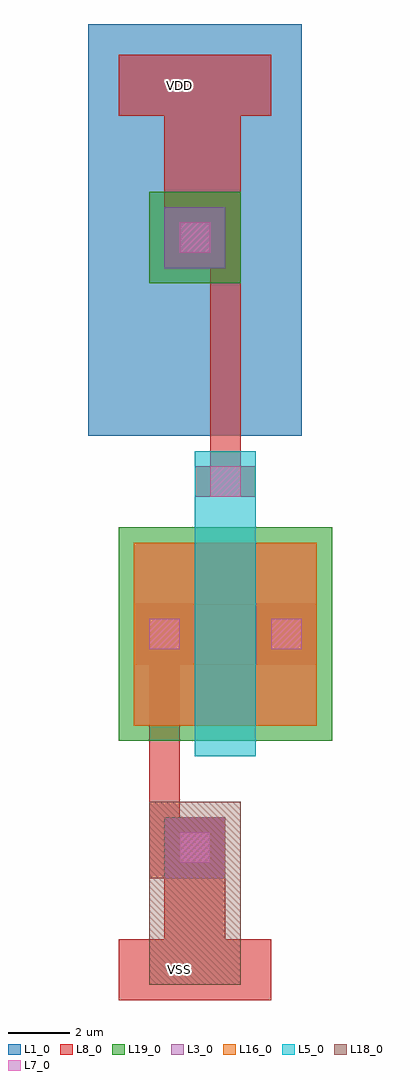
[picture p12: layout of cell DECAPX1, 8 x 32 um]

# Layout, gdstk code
import gdstk
lib = gdstk.Library(unit=1e-6, precision=1e-09)
def R(c, l, rs):  # rectangles x0, y0, x1, y1
    for r in rs: c.add(gdstk.rectangle(r[:2], r[2:], *l))
L1_0 = (1, 0)
L3_0 = (3, 0)
L5_0 = (5, 0)
L7_0 = (7, 0)
L8_0 = (8, 0)
L16_0 = (16, 0)
L18_0 = (18, 0)
L19_0 = (19, 0)

decapx1 = lib.new_cell('DECAPX1')
R(decapx1, L1_0, [(-1.5,17.5,5.5,31)])
R(decapx1, L3_0, [(1,3,3,5), (0,8,6,14), (1,23,3,25)])
R(decapx1, L5_0, [(2,7,4,17)])
R(decapx1, L7_0, [(1.5,3.5,2.5,4.5), (0.5,10.5,1.5,11.5), (4.5,10.5,5.5,11.5), (2.5,15.5,3.5,16.5), (1.5,23.5,2.5,24.5)])
R(decapx1, L8_0, [(-0.5,-1,4.5,1), (1,-1,3,5), (0.5,3,1.5,10), (0,10,2,12), (0,10,6,12), (4,10,6,12), (2,15.5,4,16.5), (2.5,15.5,3.5,28.5), (1,23,3,30), (-0.5,28,4.5,30)])
R(decapx1, L16_0, [(0,8,6,14)])
R(decapx1, L18_0, [(0.5,-0.5,3.5,5.5)])
R(decapx1, L19_0, [(-0.5,7.5,6.5,14.5), (0.5,22.5,3.5,25.5)])
decapx1.add(gdstk.Label('VDD', (1.5,29), layer=8, texttype=0))
decapx1.add(gdstk.Label('VSS', (1.5,0), layer=8, texttype=0))

lib.write_gds('DECAPX1.gds')
